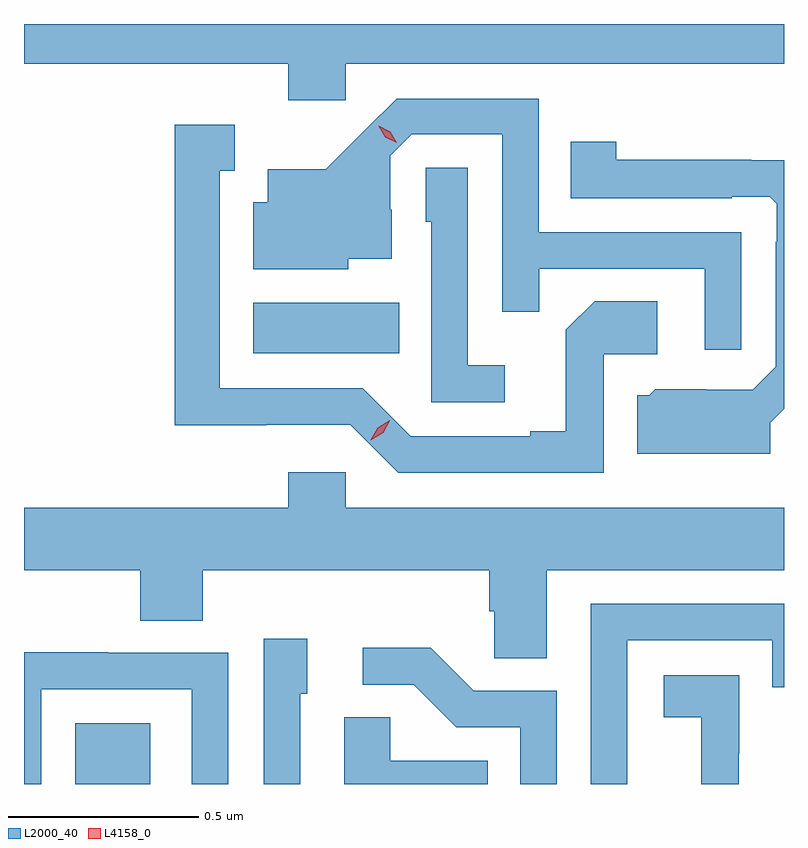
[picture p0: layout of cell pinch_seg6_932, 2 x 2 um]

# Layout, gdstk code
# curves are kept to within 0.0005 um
import gdstk
lib = gdstk.Library(unit=1e-6, precision=1e-09)
def R(c, l, rs):  # rectangles x0, y0, x1, y1
    for r in rs: c.add(gdstk.rectangle(r[:2], r[2:], *l))
def P(c, l, *ps):  # polygons
    for p in ps: c.add(gdstk.Polygon(p, *l))
L2000_40 = (2000, 40)
L4158_0 = (4158, 0)

pinch_seg6_932 = lib.new_cell('pinch_seg6_932')
R(pinch_seg6_932, L2000_40, [(142.898,917.469,143.095,917.629), (143.366,918.602,143.75,918.736)])
P(pinch_seg6_932, L2000_40, [(143.61,919.364),(144.763,919.364),(144.763,919.469),(142.763,919.469),(142.763,919.364),(143.459,919.364),(143.459,919.269),(143.61,919.269)],
  [(144.651,918.921),(144.117,918.921),(144.117,919.272),(143.744,919.272),(143.557,919.087),(143.405,919.087),(143.405,919),(143.366,919),(143.366,918.824),(143.616,918.824),(143.616,918.851),(143.731,918.851),(143.731,918.98),(143.727,918.98),(143.727,919.122),(143.784,919.179),(144.021,919.179),(144.021,918.712),(144.119,918.712),(144.119,918.825),(144.555,918.825),(144.555,918.612),(144.651,918.612)],
  [(144.288,918.6),(144.43,918.6),(144.43,918.74),(144.265,918.74),(144.189,918.664),(144.189,918.397),(144.095,918.397),(144.095,918.384),(143.781,918.384),(143.655,918.51),(143.278,918.51),(143.278,919.083),(143.317,919.083),(143.317,919.204),(143.16,919.204),(143.16,918.413),(143.4,918.413),(143.4,918.414),(143.622,918.414),(143.748,918.288),(144.288,918.288)],
  [(144.727,918.42),(144.763,918.456),(144.763,919.111),(144.677,919.111),(144.677,919.112),(144.321,919.112),(144.321,919.159),(144.202,919.159),(144.202,919.011),(144.626,919.011),(144.626,919.014),(144.726,919.014),(144.744,918.996),(144.744,918.896),(144.741,918.896),(144.741,918.567),(144.681,918.507),(144.558,918.507),(144.558,918.508),(144.424,918.508),(144.408,918.492),(144.377,918.492),(144.377,918.338),(144.727,918.338)],
  [(144.028,918.571),(143.931,918.571),(143.931,919.091),(143.82,919.091),(143.82,918.948),(143.835,918.948),(143.835,918.474),(144.028,918.474)],
  [(144.139,918.032),(144.763,918.032),(144.763,918.196),(143.61,918.196),(143.61,918.289),(143.459,918.289),(143.459,918.196),(142.763,918.196),(142.763,918.032),(143.069,918.032),(143.069,917.899),(143.234,917.899),(143.234,918.032),(143.987,918.032),(143.987,917.923),(144,917.923),(144,917.8),(144.139,917.8)],
  [(144.351,917.847),(144.732,917.847),(144.732,917.724),(144.763,917.724),(144.763,917.943),(144.255,917.943),(144.255,917.469),(144.351,917.469)],
  [(143.49,917.706),(143.509,917.706),(143.509,917.851),(143.394,917.851),(143.394,917.469),(143.49,917.469)],
  [(144.165,917.715),(143.946,917.715),(143.833,917.828),(143.655,917.828),(143.655,917.73),(143.789,917.73),(143.9,917.619),(144.069,917.619),(144.069,917.469),(144.165,917.469)],
  [(142.809,917.718),(143.205,917.718),(143.205,917.469),(143.301,917.469),(143.301,917.814),(142.985,917.814),(142.985,917.816),(142.763,917.816),(142.763,917.469),(142.809,917.469)],
  [(144.644,917.549),(144.645,917.549),(144.645,917.755),(144.447,917.755),(144.447,917.645),(144.545,917.645),(144.545,917.469),(144.644,917.469)],
  [(143.984,917.53),(143.727,917.53),(143.727,917.645),(143.606,917.645),(143.606,917.469),(143.984,917.469)])
P(pinch_seg6_932, L4158_0, [(143.744,919.156),(143.713,919.171),(143.696,919.2),(143.696,919.201),(143.696,919.201),(143.727,919.186),(143.744,919.156),(143.744,919.156)],
  [(143.676,918.374),(143.676,918.375),(143.694,918.407),(143.726,918.426),(143.726,918.426),(143.726,918.425),(143.708,918.393),(143.676,918.374)])

lib.write_gds('pinch_seg6_932.gds')
